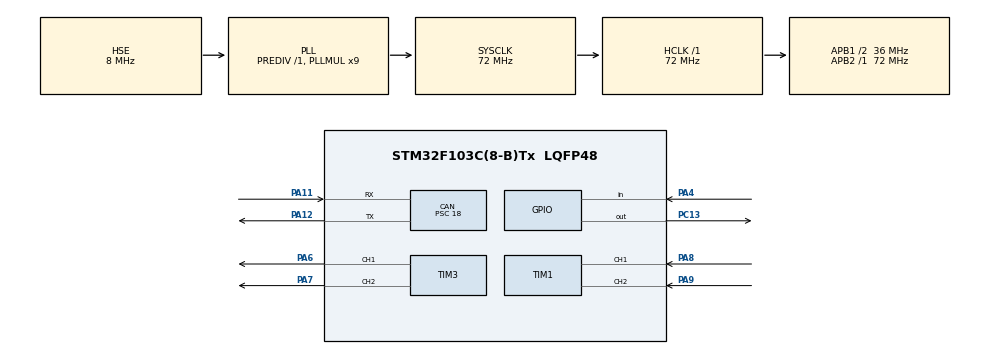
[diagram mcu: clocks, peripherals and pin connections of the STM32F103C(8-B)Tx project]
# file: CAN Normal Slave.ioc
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CAN.BS1=CAN_BS1_2TQ
CAN.CalculateBaudRate=500000
CAN.CalculateTimeBit=2000
CAN.CalculateTimeQuantum=500.0
CAN.Prescaler=18
Mcu.Family=STM32F1
Mcu.Name=STM32F103C(8-B)Tx
Mcu.Package=LQFP48
NVIC.CAN1_RX1_IRQn=true\:0\:0\:false\:false\:true\:true\:true\:true
NVIC.PriorityGroup=NVIC_PRIORITYGROUP_4
NVIC.TIM1_BRK_IRQn=true\:0\:0\:false\:false\:true\:true\:true\:true
NVIC.TIM1_UP_IRQn=true\:0\:0\:false\:false\:true\:true\:true\:true
PA11.Mode=CAN_Activate
PA11.Signal=CAN_RX
PA12.Mode=CAN_Activate
PA12.Signal=CAN_TX
PA4.Signal=GPIO_Input
PA6.Signal=S_TIM3_CH1
PA7.Signal=S_TIM3_CH2
PA8.Signal=S_TIM1_CH1
PA9.Signal=S_TIM1_CH2
PC13-TAMPER-RTC.Signal=GPIO_Output
PD0-OSC_IN.Mode=HSE-External-Oscillator
PD0-OSC_IN.Signal=RCC_OSC_IN
PD1-OSC_OUT.Mode=HSE-External-Oscillator
PD1-OSC_OUT.Signal=RCC_OSC_OUT
ProjectManager.HeapSize=0x200
ProjectManager.StackSize=0x400
ProjectManager.TargetToolchain=MDK-ARM V5.32
RCC.AHBFreq_Value=72000000
RCC.APB1CLKDivider=RCC_HCLK_DIV2
RCC.APB1Freq_Value=36000000
RCC.APB1TimFreq_Value=72000000
RCC.APB2Freq_Value=72000000
RCC.APB2TimFreq_Value=72000000
RCC.HCLKFreq_Value=72000000
RCC.PLLMUL=RCC_PLL_MUL9
RCC.PLLSourceVirtual=RCC_PLLSOURCE_HSE
RCC.SYSCLKFreq_VALUE=72000000
RCC.SYSCLKSource=RCC_SYSCLKSOURCE_PLLCLK
RCC.USBFreq_Value=72000000
SH.S_TIM1_CH1.0=TIM1_CH1,Encoder_Interface
SH.S_TIM1_CH2.0=TIM1_CH2,Encoder_Interface
SH.S_TIM3_CH1.0=TIM3_CH1,PWM Generation1 CH1
SH.S_TIM3_CH2.0=TIM3_CH2,PWM Generation2 CH2
TIM3.Channel-PWM\ Generation1\ CH1=TIM_CHANNEL_1
TIM3.Channel-PWM\ Generation2\ CH2=TIM_CHANNEL_2
VP_SYS_VS_ND.Mode=No_Debug
board=custom

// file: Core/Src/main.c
/* USER CODE BEGIN Header */
/**
  ******************************************************************************
  * @file           : main.c
  * @brief          : Main program body
  ******************************************************************************
  * @attention
  *
  * Copyright (c) 2022 STMicroelectronics.
  * All rights reserved.
  *
  * This software is licensed under terms that can be found in the LICENSE file
  * in the root directory of this software component.
  * If no LICENSE file comes with this software, it is provided AS-IS.
  *
  ******************************************************************************
  */
/* USER CODE END Header */
#include "main.h"

/* USER CODE BEGIN Includes */
float a;int b,check;
#include "stdio.h"
#include "string.h"                                          //////////////////////////
/* USER CODE END Includes */

CAN_HandleTypeDef hcan;

TIM_HandleTypeDef htim1;
TIM_HandleTypeDef htim3;

/* USER CODE BEGIN PV */
int echo=0;                                               ////////////////////////////////////////////////
int enc01;
int targetPosition =0; //the PID will try to reach this value
int motorPosition = 0;
float proportional =20; //k_p = 0.5
float integral = 0.000300000004; //k_i = 3
float derivative =330; //k_d = 1
double controlSignal = 0; //u - Also called as process variable (PV)
//-----------------------------------
//-----------------------------------
//PID-related
float previousTime = 0; //for calculating delta t
float previousError = 0; //for calculating the derivative (edot)
float errorIntegral = 0; //integral error
float currentTime = 0; //time in the moment of calculation
float deltaTime = 0; //time difference
float errorValue = 0; //error
float edot = 0; //derivative (de/dt)
/* USER CODE END PV */

void SystemClock_Config(void);
static void MX_GPIO_Init(void);
static void MX_CAN_Init(void);
static void MX_TIM3_Init(void);
static void MX_TIM1_Init(void);
/* USER CODE BEGIN PFP */
void calculatePID();
/* USER CODE END PFP */

/* USER CODE BEGIN 0 */

CAN_TxHeaderTypeDef   TxHeader;
CAN_RxHeaderTypeDef   RxHeader;
uint8_t               TxData[3];
uint8_t               RxData[9];
uint8_t               re[3];
uint32_t              TxMailbox;
int datacheck=0;
int angle=0,aout;
void func(void)
{
	angle=(re[0]*100)+(re[1]*10)+(re[2]*1);
	if(angle>=45&&angle<=315){angle=angle-45;targetPosition =129*angle;}
}
void func(void);
void HAL_CAN_RxFifo1MsgPendingCallback(CAN_HandleTypeDef *hcan)
{

	HAL_CAN_GetRxMessage(hcan,CAN_RX_FIFO1,&RxHeader,RxData);
	re[0]=RxData[3];
	re[1]=RxData[4];
	re[2]=RxData[5];
angle=((re[0]*100)+(re[1]*10)+(re[2]*1));
	if(angle>=45&&angle<=315){angle=angle-45;targetPosition =129*angle;}
	//func();
//	targetPosition =6.25*80;
}

/* USER CODE END 0 */

int main(void)
{

  /* MCU Configuration--------------------------------------------------------*/

  /* Reset of all peripherals, Initializes the Flash interface and the Systick. */
  HAL_Init();

  /* Configure the system clock */
  SystemClock_Config();

  /* Initialize all configured peripherals */
  MX_GPIO_Init();
  MX_CAN_Init();
  MX_TIM3_Init();
  MX_TIM1_Init();
  /* USER CODE BEGIN 2 */

//HAL_CAN_Init(&hcan);
  HAL_CAN_Start(&hcan);
HAL_CAN_ActivateNotification(&hcan, CAN_IT_RX_FIFO1_MSG_PENDING);
TxHeader.DLC =3;
RxHeader.DLC =9;
TxHeader.IDE = CAN_ID_STD;
TxHeader.RTR = CAN_RTR_DATA;
TxHeader.StdId = 0x136;
TxHeader.TransmitGlobalTime=DISABLE;
TxHeader.ExtId=0;

 HAL_TIM_Encoder_Start(&htim1, TIM_CHANNEL_ALL);
  HAL_TIM_PWM_Start(&htim3, TIM_CHANNEL_1);
  HAL_TIM_PWM_Start(&htim3, TIM_CHANNEL_2);
  TIM3->CCR2 = 0;
  TIM3->CCR1 = 0;
  TIM1->CNT=32768;

  /* USER CODE END 2 */

  /* Infinite loop */
  while (1)
  {

    /* USER CODE BEGIN 3 */
         //
		//HAL_CAN_AddTxMessage(&hcan,&TxHeader,TxData,&TxMailbox);
	if(datacheck==50)
	{
		if(motorPosition>=0){
	 aout=((motorPosition/129)+45);
			 TxData[0]=(int)aout/100;
		   TxData[1]=(int)(aout/10)%10;
		   TxData[2]=(int)aout%10;
	     HAL_CAN_AddTxMessage(&hcan,&TxHeader,TxData,&TxMailbox);
		}
		datacheck=0;
	}
			 datacheck++;

		          enc01=((TIM1->CNT));
	            TIM1->CNT=32768;
	             motorPosition=motorPosition+(enc01-32768);
		           calculatePID();
	             	HAL_Delay(10);
	            if(controlSignal>=0)
	            {
	            	if((int)controlSignal>65530)
	            	{
	            		TIM3->CCR2 = 0;
	            		TIM3->CCR1 = 65535;
	            	}
	            	else
	            	{
	            		TIM3->CCR2 = 0;
	            		TIM3->CCR1 = (int)controlSignal;
	            	}
	            }
	            else
	            {
	            	if((int)controlSignal<-65530)
	            	{
	            		TIM3->CCR1 = 0;
	            		TIM3->CCR2 = 65535;
	            	}
	            	else
	            	{
	            		TIM3->CCR1 = 0;
	            		TIM3->CCR2 = -(int)controlSignal;
	            	}
	            	//TIM3->CCR1 = 0;
	            	//TIM3->CCR2 = -(int)controlSignal;
	            }

	//		HAL_GPIO_TogglePin(GPIOC,GPIO_PIN_13);
	//		HAL_Delay(angle);
		/*

		*/
  }
  /* USER CODE END 3 */
}

void SystemClock_Config(void)
{
  RCC_OscInitTypeDef RCC_OscInitStruct = {0};
  RCC_ClkInitTypeDef RCC_ClkInitStruct = {0};

  /** Initializes the RCC Oscillators according to the specified parameters
  * in the RCC_OscInitTypeDef structure.
  */
  RCC_OscInitStruct.OscillatorType = RCC_OSCILLATORTYPE_HSE;
  RCC_OscInitStruct.HSEState = RCC_HSE_ON;
  RCC_OscInitStruct.HSEPredivValue = RCC_HSE_PREDIV_DIV1;
  RCC_OscInitStruct.HSIState = RCC_HSI_ON;
  RCC_OscInitStruct.PLL.PLLState = RCC_PLL_ON;
  RCC_OscInitStruct.PLL.PLLSource = RCC_PLLSOURCE_HSE;
  RCC_OscInitStruct.PLL.PLLMUL = RCC_PLL_MUL9;
  if (HAL_RCC_OscConfig(&RCC_OscInitStruct) != HAL_OK)
  {
    Error_Handler();
  }

  /** Initializes the CPU, AHB and APB buses clocks
  */
  RCC_ClkInitStruct.ClockType = RCC_CLOCKTYPE_HCLK|RCC_CLOCKTYPE_SYSCLK
                              |RCC_CLOCKTYPE_PCLK1|RCC_CLOCKTYPE_PCLK2;
  RCC_ClkInitStruct.SYSCLKSource = RCC_SYSCLKSOURCE_PLLCLK;
  RCC_ClkInitStruct.AHBCLKDivider = RCC_SYSCLK_DIV1;
  RCC_ClkInitStruct.APB1CLKDivider = RCC_HCLK_DIV2;
  RCC_ClkInitStruct.APB2CLKDivider = RCC_HCLK_DIV1;

  if (HAL_RCC_ClockConfig(&RCC_ClkInitStruct, FLASH_LATENCY_2) != HAL_OK)
  {
    Error_Handler();
  }
}

static void MX_CAN_Init(void)
{

  hcan.Instance = CAN1;
  hcan.Init.Prescaler = 18;
  hcan.Init.Mode = CAN_MODE_NORMAL;
  hcan.Init.SyncJumpWidth = CAN_SJW_1TQ;
  hcan.Init.TimeSeg1 = CAN_BS1_2TQ;
  hcan.Init.TimeSeg2 = CAN_BS2_1TQ;
  hcan.Init.TimeTriggeredMode = DISABLE;
  hcan.Init.AutoBusOff = DISABLE;
  hcan.Init.AutoWakeUp = DISABLE;
  hcan.Init.AutoRetransmission = DISABLE;
  hcan.Init.ReceiveFifoLocked = DISABLE;
  hcan.Init.TransmitFifoPriority = DISABLE;
  if (HAL_CAN_Init(&hcan) != HAL_OK)
  {
    Error_Handler();
  }
  /* USER CODE BEGIN CAN_Init 2 */

 CAN_FilterTypeDef canfilterconfig;
  canfilterconfig.FilterActivation = CAN_FILTER_ENABLE;
  canfilterconfig.FilterBank =10;  // which filter bank to use from the assigned ones
  canfilterconfig.FilterFIFOAssignment = CAN_FILTER_FIFO1;
  canfilterconfig.FilterIdHigh = 0xFFFE<<5;//0x0000;//;
  canfilterconfig.FilterIdLow = 0x0000;
  canfilterconfig.FilterMaskIdHigh = 0xFFFE<<5;////
  canfilterconfig.FilterMaskIdLow = 0x0000;
  canfilterconfig.FilterMode = CAN_FILTERMODE_IDMASK;
  canfilterconfig.FilterScale = CAN_FILTERSCALE_32BIT;
  canfilterconfig.SlaveStartFilterBank =0;
 // how many filters to assign to the CAN1 (master can)

	HAL_CAN_ConfigFilter(&hcan,&canfilterconfig);
  /* USER CODE END CAN_Init 2 */

}

static void MX_TIM1_Init(void)
{

  TIM_Encoder_InitTypeDef sConfig = {0};
  TIM_MasterConfigTypeDef sMasterConfig = {0};

  htim1.Instance = TIM1;
  htim1.Init.Prescaler = 0;
  htim1.Init.CounterMode = TIM_COUNTERMODE_UP;
  htim1.Init.Period = 65535;
  htim1.Init.ClockDivision = TIM_CLOCKDIVISION_DIV1;
  htim1.Init.RepetitionCounter = 0;
  htim1.Init.AutoReloadPreload = TIM_AUTORELOAD_PRELOAD_DISABLE;
  sConfig.EncoderMode = TIM_ENCODERMODE_TI1;
  sConfig.IC1Polarity = TIM_ICPOLARITY_RISING;
  sConfig.IC1Selection = TIM_ICSELECTION_DIRECTTI;
  sConfig.IC1Prescaler = TIM_ICPSC_DIV1;
  sConfig.IC1Filter = 0;
  sConfig.IC2Polarity = TIM_ICPOLARITY_RISING;
  sConfig.IC2Selection = TIM_ICSELECTION_DIRECTTI;
  sConfig.IC2Prescaler = TIM_ICPSC_DIV1;
  sConfig.IC2Filter = 0;
  if (HAL_TIM_Encoder_Init(&htim1, &sConfig) != HAL_OK)
  {
    Error_Handler();
  }
  sMasterConfig.MasterOutputTrigger = TIM_TRGO_RESET;
  sMasterConfig.MasterSlaveMode = TIM_MASTERSLAVEMODE_DISABLE;
  if (HAL_TIMEx_MasterConfigSynchronization(&htim1, &sMasterConfig) != HAL_OK)
  {
    Error_Handler();
  }

}

static void MX_TIM3_Init(void)
{

  TIM_MasterConfigTypeDef sMasterConfig = {0};
  TIM_OC_InitTypeDef sConfigOC = {0};

  htim3.Instance = TIM3;
  htim3.Init.Prescaler = 0;
  htim3.Init.CounterMode = TIM_COUNTERMODE_UP;
  htim3.Init.Period = 65535;
  htim3.Init.ClockDivision = TIM_CLOCKDIVISION_DIV1;
  htim3.Init.AutoReloadPreload = TIM_AUTORELOAD_PRELOAD_DISABLE;
  if (HAL_TIM_PWM_Init(&htim3) != HAL_OK)
  {
    Error_Handler();
  }
  sMasterConfig.MasterOutputTrigger = TIM_TRGO_RESET;
  sMasterConfig.MasterSlaveMode = TIM_MASTERSLAVEMODE_DISABLE;
  if (HAL_TIMEx_MasterConfigSynchronization(&htim3, &sMasterConfig) != HAL_OK)
  {
    Error_Handler();
  }
  sConfigOC.OCMode = TIM_OCMODE_PWM1;
  sConfigOC.Pulse = 0;
  sConfigOC.OCPolarity = TIM_OCPOLARITY_HIGH;
  sConfigOC.OCFastMode = TIM_OCFAST_DISABLE;
  if (HAL_TIM_PWM_ConfigChannel(&htim3, &sConfigOC, TIM_CHANNEL_1) != HAL_OK)
  {
    Error_Handler();
  }
  if (HAL_TIM_PWM_ConfigChannel(&htim3, &sConfigOC, TIM_CHANNEL_2) != HAL_OK)
  {
    Error_Handler();
  }
  HAL_TIM_MspPostInit(&htim3);

}

static void MX_GPIO_Init(void)
{
  GPIO_InitTypeDef GPIO_InitStruct = {0};

  /* GPIO Ports Clock Enable */
  __HAL_RCC_GPIOC_CLK_ENABLE();
  __HAL_RCC_GPIOD_CLK_ENABLE();
  __HAL_RCC_GPIOA_CLK_ENABLE();

  /*Configure GPIO pin Output Level */
  HAL_GPIO_WritePin(GPIOC, GPIO_PIN_13, GPIO_PIN_RESET);

  /*Configure GPIO pin : PC13 */
  GPIO_InitStruct.Pin = GPIO_PIN_13;
  GPIO_InitStruct.Mode = GPIO_MODE_OUTPUT_PP;
  GPIO_InitStruct.Pull = GPIO_NOPULL;
  GPIO_InitStruct.Speed = GPIO_SPEED_FREQ_LOW;
  HAL_GPIO_Init(GPIOC, &GPIO_InitStruct);

  /*Configure GPIO pin : PA4 */
  GPIO_InitStruct.Pin = GPIO_PIN_4;
  GPIO_InitStruct.Mode = GPIO_MODE_INPUT;
  GPIO_InitStruct.Pull = GPIO_NOPULL;
  HAL_GPIO_Init(GPIOA, &GPIO_InitStruct);

}

/* USER CODE BEGIN 4 */

void calculatePID()
{
	//int currentTime,deltaTime,previousTime,motorPosition,targetPosition
  //Determining the elapsed time
  currentTime = HAL_GetTick(); //current time
  deltaTime = (currentTime - previousTime);  //time difference in seconds
  previousTime = currentTime; //save the current time for the next iteration to get the time difference
  //---
  errorValue = motorPosition - targetPosition; //Current position - target position (or setpoint)

  edot = (errorValue - previousError) / deltaTime; //edot = de/dt - derivative term

  errorIntegral = errorIntegral + (errorValue * deltaTime); //integral term - Newton-Leibniz, notice, this is a running sum!

  controlSignal = (proportional * errorValue) + (derivative * edot) + (integral * errorIntegral); //final sum, proportional term also calculated here

  previousError = errorValue; //save the error for the next iteration to get the difference (for edot)
}

/* USER CODE END 4 */

void Error_Handler(void)
{
  __disable_irq();
  while (1)
  {
  }
}
